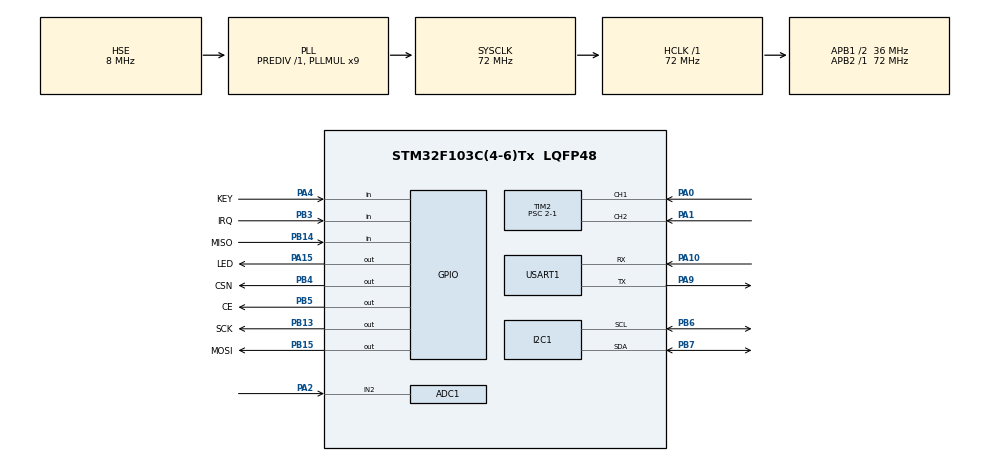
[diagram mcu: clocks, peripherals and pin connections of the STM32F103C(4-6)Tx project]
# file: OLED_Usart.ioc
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ADC1.Channel-0\#ChannelRegularConversion=ADC_CHANNEL_2
ADC1.ContinuousConvMode=ENABLE
ADC1.NbrOfConversionFlag=1
ADC1.Rank-0\#ChannelRegularConversion=1
ADC1.SamplingTime-0\#ChannelRegularConversion=ADC_SAMPLETIME_1CYCLE_5
ADC1.master=1
Dma.Request0=USART1_RX
Dma.USART1_RX.0.Direction=DMA_PERIPH_TO_MEMORY
Dma.USART1_RX.0.Instance=DMA1_Channel5
Dma.USART1_RX.0.MemDataAlignment=DMA_MDATAALIGN_BYTE
Dma.USART1_RX.0.MemInc=DMA_MINC_ENABLE
Dma.USART1_RX.0.Mode=DMA_NORMAL
Dma.USART1_RX.0.PeriphDataAlignment=DMA_PDATAALIGN_BYTE
Dma.USART1_RX.0.PeriphInc=DMA_PINC_DISABLE
Dma.USART1_RX.0.Priority=DMA_PRIORITY_LOW
I2C1.I2C_Mode=I2C_Fast
Mcu.Family=STM32F1
Mcu.Name=STM32F103C(4-6)Tx
Mcu.Package=LQFP48
NVIC.DMA1_Channel5_IRQn=true\:0\:0\:false\:false\:true\:false\:true\:true
NVIC.PriorityGroup=NVIC_PRIORITYGROUP_4
NVIC.TIM3_IRQn=true\:0\:0\:false\:false\:true\:true\:true\:true
NVIC.USART1_IRQn=true\:0\:0\:false\:false\:true\:true\:true\:true
PA0-WKUP.GPIO_PuPd=GPIO_PULLUP
PA0-WKUP.Signal=S_TIM2_CH1_ETR
PA1.GPIO_PuPd=GPIO_PULLUP
PA1.Signal=S_TIM2_CH2
PA10.Mode=Asynchronous
PA10.Signal=USART1_RX
PA13.Mode=Serial_Wire
PA13.Signal=SYS_JTMS-SWDIO
PA14.Mode=Serial_Wire
PA14.Signal=SYS_JTCK-SWCLK
PA15.GPIO_Label=LED
PA15.GPIO_Speed=GPIO_SPEED_FREQ_HIGH
PA15.PinState=GPIO_PIN_SET
PA15.Signal=GPIO_Output
PA2.Signal=ADCx_IN2
PA4.GPIO_Label=KEY
PA4.GPIO_PuPd=GPIO_PULLUP
PA4.Signal=GPIO_Input
PA9.Mode=Asynchronous
PA9.Signal=USART1_TX
PB13.GPIO_Label=SCK
PB13.Signal=GPIO_Output
PB14.GPIO_Label=MISO
PB14.GPIO_PuPd=GPIO_PULLUP
PB14.Signal=GPIO_Input
PB15.GPIO_Label=MOSI
PB15.Signal=GPIO_Output
PB3.GPIO_Label=IRQ
PB3.GPIO_PuPd=GPIO_PULLUP
PB3.Signal=GPIO_Input
PB4.GPIO_Label=CSN
PB4.PinState=GPIO_PIN_SET
PB4.Signal=GPIO_Output
PB5.GPIO_Label=CE
PB5.GPIO_PuPd=GPIO_PULLDOWN
PB5.PinState=GPIO_PIN_RESET
PB5.Signal=GPIO_Output
PB6.Mode=I2C
PB6.Signal=I2C1_SCL
PB7.Mode=I2C
PB7.Signal=I2C1_SDA
PD0-OSC_IN.Mode=HSE-External-Oscillator
PD0-OSC_IN.Signal=RCC_OSC_IN
PD1-OSC_OUT.Mode=HSE-External-Oscillator
PD1-OSC_OUT.Signal=RCC_OSC_OUT
ProjectManager.HeapSize=0x200
ProjectManager.StackSize=0x400
ProjectManager.TargetToolchain=MDK-ARM V5.32
RCC.ADCPresc=RCC_ADCPCLK2_DIV6
RCC.AHBFreq_Value=72000000
RCC.APB1CLKDivider=RCC_HCLK_DIV2
RCC.APB1Freq_Value=36000000
RCC.APB1TimFreq_Value=72000000
RCC.APB2Freq_Value=72000000
RCC.APB2TimFreq_Value=72000000
RCC.HCLKFreq_Value=72000000
RCC.PLLMUL=RCC_PLL_MUL9
RCC.PLLSourceVirtual=RCC_PLLSOURCE_HSE
RCC.SYSCLKFreq_VALUE=72000000
RCC.SYSCLKSource=RCC_SYSCLKSOURCE_PLLCLK
RCC.USBFreq_Value=72000000
SH.ADCx_IN2.0=ADC1_IN2,IN2
SH.S_TIM2_CH1_ETR.0=TIM2_CH1,Encoder_Interface
SH.S_TIM2_CH2.0=TIM2_CH2,Encoder_Interface
TIM1.Prescaler=71
TIM2.Prescaler=2-1
TIM3.Period=9
TIM3.Prescaler=7199
USART1.VirtualMode=VM_ASYNC
VP_TIM1_VS_ClockSourceINT.Mode=Internal
VP_TIM3_VS_ClockSourceINT.Mode=Internal
board=custom

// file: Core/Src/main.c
/* USER CODE BEGIN Header */
/**
  ******************************************************************************
  * @file           : main.c
  * @brief          : Main program body
  ******************************************************************************
  * @attention
  *
  * Copyright (c) 2024 STMicroelectronics.
  * All rights reserved.
  *
  * This software is licensed under terms that can be found in the LICENSE file
  * in the root directory of this software component.
  * If no LICENSE file comes with this software, it is provided AS-IS.
  *
  ******************************************************************************
  */
/* USER CODE END Header */
#include "main.h"
#include "adc.h"
#include "dma.h"
#include "i2c.h"
#include "tim.h"
#include "usart.h"
#include "gpio.h"

/* USER CODE BEGIN Includes */
#include "stdio.h"
#include "oled.h"
#include "get_ec11.h"
#include "APP.h"
#include "Key.h"
#include "24l01.h"
/* USER CODE END Includes */

/* USER CODE BEGIN PV */
/*			./Keil5_disp_size_bar_v0.3.exe			*/
/* USER CODE END PV */

void SystemClock_Config(void);

int main(void)
{

  /* MCU Configuration--------------------------------------------------------*/

  /* Reset of all peripherals, Initializes the Flash interface and the Systick. */
  HAL_Init();

  /* Configure the system clock */
  SystemClock_Config();

  /* Initialize all configured peripherals */
  MX_GPIO_Init();
  MX_DMA_Init();
  MX_USART1_UART_Init();
  MX_I2C1_Init();
  MX_TIM2_Init();
  MX_TIM3_Init();
  MX_TIM1_Init();
  MX_ADC1_Init();
  /* USER CODE BEGIN 2 */

	//Init_NRF24L01();
	uint8_t RX_Arr[32];
	while(NRF24L01_Check()){}
	RX_Mode();
	HAL_ADCEx_Calibration_Start(&hadc1);    //AD校准
  Debug_Usart_Struct.Init(Usart_Debug_Run);//串口初始化和接收回调函数注册
  __HAL_TIM_GET_COUNTER(&EC11_TIME) = 0; //计数器值置位
  HAL_TIM_Encoder_Start(&EC11_TIME, TIM_CHANNEL_ALL);//计数器使能
  OLED_Init();//OLED初始化
  HAL_TIM_Base_Start_IT(&htim3);//tim3启动
  button_init(&btn1, read_button1_GPIO, 0);//按键获取回调函数注册
  button_attach(&btn1, SINGLE_CLICK,BTN1_SINGLE_Click_Handler);//按键单击回调函数注册
  button_attach(&btn1, DOUBLE_CLICK,BTN1_DOUBLE_Click_Handler);//按键双击回调函数注册
	button_attach(&btn1, PRESS_REPEAT,BTN1_PRESS_REPEAT_Handler);//按键双击回调函数注册
	button_attach(&btn1, LONG_PRESS_START,BTN1_LONG_PRESS_START_Handler);//按键双击回调函数注册
  button_start(&btn1);//按键启动函数
  printf("Init OK\r\n");
  /* USER CODE END 2 */

  /* Infinite loop */
  while (1)
  {

    /* USER CODE BEGIN 3 */
		if(NRF24L01_RxPacket(RX_Arr) == 0){
			HAL_GPIO_WritePin(LED_GPIO_Port, LED_Pin, GPIO_PIN_RESET);
			Analytic_Parameter_NRF((char*)RX_Arr);
			for(uint8_t i = 0;i < 32;i++){
				RX_Arr[i] = 0;
			}
			HAL_GPIO_WritePin(LED_GPIO_Port, LED_Pin, GPIO_PIN_SET);
		}
		uint8_t temp = Get_EC11();//获取EC11的转动方向
    if(temp == FWD){//正转
			direction = FWD;
			taskstudy++;
      if(taskTable[taskIndex].CurrentNum == Interface_Mune){
        if(taskstudy > MENU_MAX - 1)
          taskstudy = MENU_MAX - 1;
      }
      else if(taskTable[taskIndex].CurrentNum == Study_Mune){//在学习界面进行用电器选择
        if(taskstudy > ELE_MAX - 1)
          taskstudy = ELE_MAX - 1;
      }
    }
    else if(temp == REV){//反转
			direction = REV;
			if(taskstudy != 0)
				taskstudy--;
    }
    taskTable[taskIndex].Current_Operation();//界面执行函数
		if(toggle_flage == 1){
			NRF_Send((uint8_t*)"Switch Toggle",20);
			toggle_flage = 0;
		}
		Cell = Get_ADC(5000);
		if(power_flage >= 60 * 1){
			OLED_Clear();
			Oled_Send_Buff();
			HAL_GPIO_WritePin(LED_GPIO_Port, LED_Pin, GPIO_PIN_SET);
			HAL_PWR_EnterSTANDBYMode();
		}
  }
  /* USER CODE END 3 */
}

void SystemClock_Config(void)
{
  RCC_OscInitTypeDef RCC_OscInitStruct = {0};
  RCC_ClkInitTypeDef RCC_ClkInitStruct = {0};
  RCC_PeriphCLKInitTypeDef PeriphClkInit = {0};

  /** Initializes the RCC Oscillators according to the specified parameters
  * in the RCC_OscInitTypeDef structure.
  */
  RCC_OscInitStruct.OscillatorType = RCC_OSCILLATORTYPE_HSE;
  RCC_OscInitStruct.HSEState = RCC_HSE_ON;
  RCC_OscInitStruct.HSEPredivValue = RCC_HSE_PREDIV_DIV1;
  RCC_OscInitStruct.HSIState = RCC_HSI_ON;
  RCC_OscInitStruct.PLL.PLLState = RCC_PLL_ON;
  RCC_OscInitStruct.PLL.PLLSource = RCC_PLLSOURCE_HSE;
  RCC_OscInitStruct.PLL.PLLMUL = RCC_PLL_MUL9;
  if (HAL_RCC_OscConfig(&RCC_OscInitStruct) != HAL_OK)
  {
    Error_Handler();
  }

  /** Initializes the CPU, AHB and APB buses clocks
  */
  RCC_ClkInitStruct.ClockType = RCC_CLOCKTYPE_HCLK|RCC_CLOCKTYPE_SYSCLK
                              |RCC_CLOCKTYPE_PCLK1|RCC_CLOCKTYPE_PCLK2;
  RCC_ClkInitStruct.SYSCLKSource = RCC_SYSCLKSOURCE_PLLCLK;
  RCC_ClkInitStruct.AHBCLKDivider = RCC_SYSCLK_DIV1;
  RCC_ClkInitStruct.APB1CLKDivider = RCC_HCLK_DIV2;
  RCC_ClkInitStruct.APB2CLKDivider = RCC_HCLK_DIV1;

  if (HAL_RCC_ClockConfig(&RCC_ClkInitStruct, FLASH_LATENCY_2) != HAL_OK)
  {
    Error_Handler();
  }
  PeriphClkInit.PeriphClockSelection = RCC_PERIPHCLK_ADC;
  PeriphClkInit.AdcClockSelection = RCC_ADCPCLK2_DIV6;
  if (HAL_RCCEx_PeriphCLKConfig(&PeriphClkInit) != HAL_OK)
  {
    Error_Handler();
  }
}

void Error_Handler(void)
{
  __disable_irq();
  while (1)
  {
  }
}
